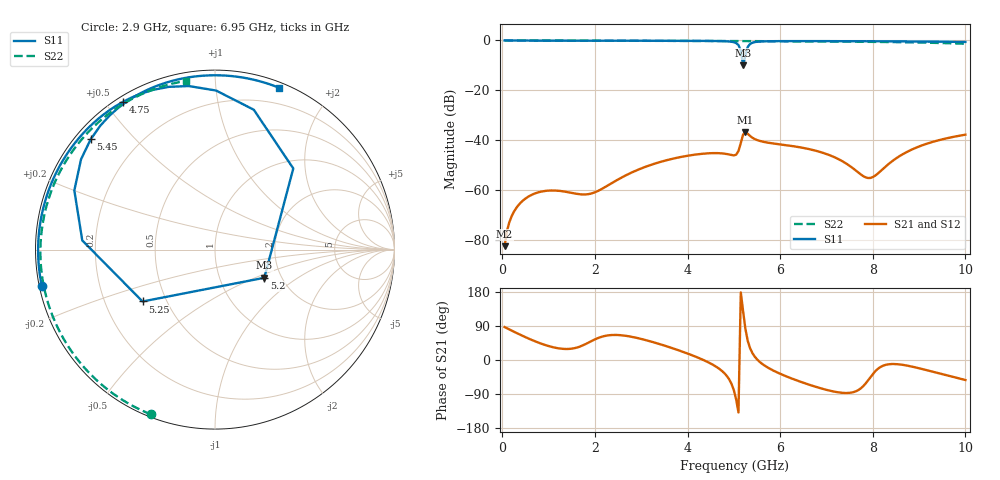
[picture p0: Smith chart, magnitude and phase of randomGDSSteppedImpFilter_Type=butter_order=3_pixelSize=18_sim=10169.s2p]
! freq	dB(S11)	phase(S11)	dB(S12)	phase(S12)
!  dB(S21)	phase(S21)	dB(S22)	phase(S22)
!S-par simulation data
#  GHz  S  DB  R 50
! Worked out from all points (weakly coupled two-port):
!   200 points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, 50 MHz to 10 GHz, reference 50 ohm
!   highest |S21| = -36.65 dB at 5.25 GHz (marker M1); lowest = -82.3 dB at 50 MHz (marker M2)
!   lowest |S11| = -10.0 dB at 5.2 GHz (marker M3), VSWR 1.93, Z = 81.7 - j28.5 ohm
!   |S11| at or under -10 dB: nowhere
!   |S22| runs from -1.3 to 0.0 dB; largest |S21 - S12| = 0
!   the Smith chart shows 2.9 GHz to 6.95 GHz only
!   S11 on the Smith chart (normalised r, x): 2.9 GHz: 0.01, -0.10; 4.75 GHz: 0.02, +0.56; 5.2 GHz: 1.63, -0.57; 5.25 GHz: 0.37, -0.28; 5.45 GHz: 0.04, +0.38; 6.95 GHz: 0.05, +1.47
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0.05  -0.00 -4.2  -82.32 87.0  -82.32 87.0  -0.00 -2.1
0.25  -0.03 -20.6  -68.58 74.7  -68.58 74.7  -0.01 -10.3
0.55  -0.06 -44.2  -62.65 57.5  -62.65 57.5  -0.03 -22.6
1.1  -0.09 -82.7  -60.04 33.6  -60.04 33.6  -0.06 -44.8
1.75  -0.11 -119.4  -61.64 39.2  -61.64 39.2  -0.09 -69.9
2.9  -0.12 -168.1  -51.97 58.5  -51.97 58.5  -0.13 -111.3
3.4  -0.13 174.0  -48.68 41.9  -48.68 41.9  -0.15 -128.3
4.75  -0.27 121.8  -45.20 -29.6  -45.20 -29.6  -0.23 -173.8
5.05  -1.05 89.6  -45.72 -104.1  -45.72 -104.1  -0.25 175.8
5.15  -4.04 46.0  -41.07 178.4  -41.07 178.4  -0.26 172.3
5.2  -9.99 -29.7  -37.67 128.7  -37.67 128.7  -0.26 170.5
5.25  -6.08 -144.4  -36.65 82.0  -36.65 82.0  -0.26 168.8
5.3  -2.60 176.0  -37.33 50.6  -37.33 50.6  -0.26 167.0
5.45  -0.67 138.4  -39.44 9.1  -39.44 9.1  -0.28 161.5
5.9  -0.28 108.2  -41.35 -30.7  -41.35 -30.7  -0.31 144.6
6.7  -0.26 77.3  -43.81 -68.1  -43.81 -68.1  -0.39 111.3
6.95  -0.27 68.3  -45.13 -77.2  -45.13 -77.2  -0.41 99.8
7.9  -0.32 33.8  -55.06 -53.4  -55.06 -53.4  -0.54 50.2
8.35  -0.35 17.3  -49.31 -11.2  -49.31 -11.2  -0.63 23.3
9.1  -0.44 -10.4  -41.74 -24.8  -41.74 -24.8  -0.86 -25.8
9.6  -0.52 -28.9  -39.14 -40.7  -39.14 -40.7  -1.09 -61.1
10  -0.60 -43.7  -37.71 -52.8  -37.71 -52.8  -1.32 -90.6
